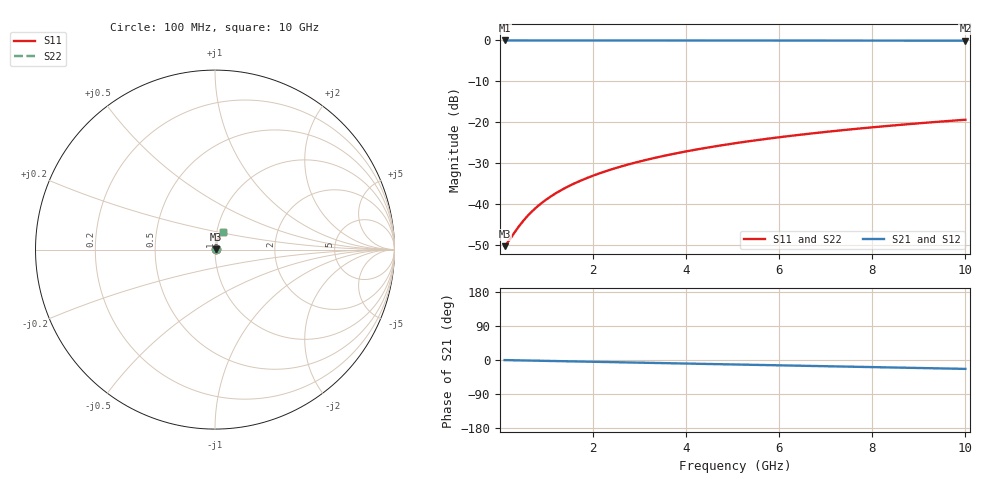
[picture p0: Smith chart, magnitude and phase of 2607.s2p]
# Hz S RI R 50.00
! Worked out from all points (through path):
!   100 points, 100 MHz to 10 GHz, reference 50 ohm
!   highest |S21| = -0.02 dB at 100 MHz (marker M1); lowest = -0.1 dB at 10 GHz (marker M2)
!   group delay of S21, straight-line fit = 6.51 ps
!   lowest |S11| = -50.3 dB at 100 MHz (marker M3), VSWR 1.01, Z = 50.3 + j0.11 ohm
!   |S11| at or under -10 dB: start of sweep to end of sweep
!   |S22| runs from -50.3 to -19.4 dB; largest |S21 - S12| = 0
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1e8  0.00285 0.00109  0.9971 -0.00407  0.9971 -0.00407  0.00285 0.00109
2e8  0.00288 0.00218  0.9971 -0.00814  0.9971 -0.00814  0.00288 0.00218
4e8  0.00296 0.00436  0.997 -0.0163  0.997 -0.0163  0.00296 0.00436
5e8  0.00301 0.00545  0.9969 -0.0204  0.9969 -0.0204  0.00301 0.00545
6e8  0.00307 0.00653  0.9968 -0.0244  0.9968 -0.0244  0.00307 0.00653
7e8  0.00313 0.00762  0.9966 -0.0285  0.9966 -0.0285  0.00313 0.00762
8e8  0.0032 0.00871  0.9965 -0.0326  0.9965 -0.0326  0.0032 0.00871
1e9  0.00337 0.0109  0.9962 -0.0407  0.9962 -0.0407  0.00337 0.0109
1.2e9  0.00358 0.013  0.9957 -0.0488  0.9957 -0.0488  0.00358 0.013
1.5e9  0.00395 0.0163  0.995 -0.061  0.995 -0.061  0.00395 0.0163
1.8e9  0.0044 0.0195  0.9941 -0.0732  0.9941 -0.0732  0.0044 0.0195
2.1e9  0.00493 0.0228  0.993 -0.0854  0.993 -0.0854  0.00493 0.0228
2.5e9  0.00575 0.027  0.9914 -0.1016  0.9914 -0.1016  0.00575 0.027
2.9e9  0.00672 0.0313  0.9894 -0.1178  0.9894 -0.1178  0.00672 0.0313
3.4e9  0.00812 0.0365  0.9866 -0.1379  0.9866 -0.1379  0.00812 0.0365
4.2e9  0.0108 0.0448  0.9812 -0.1701  0.9812 -0.1701  0.0108 0.0448
5.1e9  0.0145 0.0539  0.9738 -0.206  0.9738 -0.206  0.0145 0.0539
5.9e9  0.0183 0.0617  0.966 -0.2376  0.966 -0.2376  0.0183 0.0617
6.7e9  0.0226 0.0693  0.9571 -0.2689  0.9571 -0.2689  0.0226 0.0693
7.5e9  0.0274 0.0766  0.9471 -0.2999  0.9471 -0.2999  0.0274 0.0766
8.4e9  0.0333 0.0843  0.9346 -0.3343  0.9346 -0.3343  0.0333 0.0843
1e10  0.0453 0.0971  0.9092 -0.3942  0.9092 -0.3942  0.0453 0.0971
